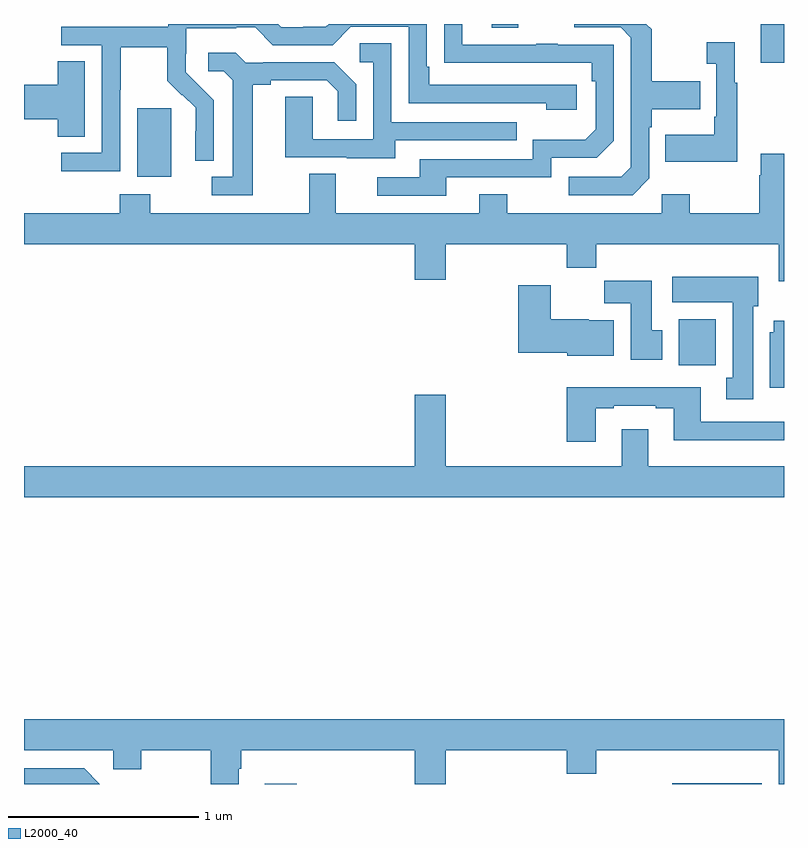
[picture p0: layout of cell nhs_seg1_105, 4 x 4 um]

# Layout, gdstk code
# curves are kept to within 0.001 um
import gdstk
lib = gdstk.Library(unit=1e-6, precision=1e-09)
def R(c, l, rs):  # rectangles x0, y0, x1, y1
    for r in rs: c.add(gdstk.rectangle(r[:2], r[2:], *l))
def P(c, l, *ps):  # polygons
    for p in ps: c.add(gdstk.Polygon(p, *l))
L2000_40 = (2000, 40)

nhs_seg1_105 = lib.new_cell('nhs_seg1_105')
R(nhs_seg1_105, L2000_40, [(116.267,574.199,116.435,574.201), (118.413,574.199,118.882,574.204), (118.445,576.404,118.642,576.646), (115.595,577.394,115.774,577.755), (118.877,577.995,119,578.199), (117.461,578.178,117.601,578.199)])
P(nhs_seg1_105, L2000_40, [(118.29,577.386),(118.29,577.655),(118.303,577.655),(118.303,577.751),(118.559,577.751),(118.559,577.899),(118.303,577.899),(118.303,578.171),(118.275,578.199),(117.897,578.199),(117.897,578.181),(118.14,578.181),(118.194,578.127),(118.194,577.446),(118.143,577.395),(117.867,577.395),(117.867,577.299),(118.203,577.299)],
  [(117.223,577.392),(117.774,577.392),(117.774,577.494),(118.014,577.494),(118.104,577.584),(118.104,578.091),(117.809,578.091),(117.809,578.096),(117.697,578.096),(117.697,578.091),(117.307,578.091),(117.307,578.199),(117.211,578.199),(117.211,577.996),(117.988,577.995),(117.988,577.898),(118.008,577.898),(118.008,577.644),(117.955,577.591),(117.678,577.591),(117.678,577.488),(117.083,577.488),(117.083,577.392),(116.859,577.392),(116.859,577.296),(117.223,577.296)],
  [(115.506,577.852),(115.509,577.852),(115.509,578.076),(115.753,578.076),(115.753,577.901),(115.83,577.824),(115.833,577.827),(115.904,577.757),(115.904,577.634),(115.902,577.634),(115.902,577.48),(115.998,577.48),(115.998,577.798),(115.852,577.946),(115.852,578.043),(115.854,578.043),(115.854,578.177),(116.117,578.177),(116.117,578.181),(116.217,578.181),(116.31,578.088),(116.625,578.088),(116.721,578.184),(117.024,578.184),(117.024,577.782),(117.749,577.782),(117.749,577.748),(117.91,577.748),(117.91,577.878),(117.133,577.878),(117.133,577.975),(117.12,577.975),(117.12,578.199),(116.604,578.199),(116.589,578.184),(116.471,578.184),(116.471,578.181),(116.355,578.181),(116.337,578.199),(115.758,578.199),(115.758,578.184),(115.197,578.184),(115.197,578.088),(115.41,578.088),(115.41,577.521),(115.197,577.521),(115.197,577.423),(115.506,577.423)],
  [(118.753,577.891),(118.741,577.891),(118.741,578.104),(118.593,578.104),(118.593,577.991),(118.644,577.991),(118.644,577.711),(118.632,577.711),(118.632,577.615),(118.375,577.615),(118.375,577.475),(118.753,577.475)],
  [(116.953,577.587),(117.593,577.587),(117.593,577.683),(116.934,577.683),(116.934,578.099),(116.766,578.099),(116.766,577.998),(116.838,577.998),(116.838,577.593),(116.52,577.593),(116.52,577.817),(116.375,577.817),(116.375,577.497),(116.699,577.497),(116.699,577.493),(116.953,577.493)],
  [(116.203,577.88),(116.299,577.88),(116.299,577.902),(116.594,577.902),(116.651,577.845),(116.651,577.689),(116.748,577.689),(116.748,577.882),(116.632,577.998),(116.26,577.998),(116.26,577.995),(116.166,577.995),(116.114,578.047),(115.971,578.047),(115.971,577.95),(116.052,577.95),(116.099,577.903),(116.099,577.395),(115.989,577.395),(115.989,577.299),(116.203,577.299)],
  [(115.321,578.003),(115.178,578.003),(115.178,577.88),(115,577.88),(115,577.697),(115.178,577.697),(115.178,577.606),(115.321,577.606)],
  [(119,577.516),(118.877,577.516),(118.877,577.403),(118.87,577.403),(118.87,577.204),(118.503,577.204),(118.503,577.303),(118.356,577.303),(118.356,577.204),(117.543,577.204),(117.543,577.303),(117.395,577.303),(117.395,577.204),(116.641,577.204),(116.641,577.412),(116.501,577.412),(116.501,577.204),(115.665,577.204),(115.665,577.303),(115.505,577.303),(115.505,577.204),(115,577.204),(115,577.04),(117.056,577.04),(117.056,576.852),(117.22,576.852),(117.22,577.04),(117.857,577.04),(117.857,576.916),(118.013,576.916),(118.013,577.04),(118.973,577.04),(118.973,576.846),(119,576.846)],
  [(118.837,576.714),(118.864,576.714),(118.864,576.868),(118.413,576.868),(118.413,576.734),(118.73,576.734),(118.73,576.338),(118.697,576.338),(118.697,576.225),(118.837,576.225)],
  [(118.36,576.588),(118.303,576.588),(118.303,576.847),(118.054,576.847),(118.054,576.728),(118.193,576.728),(118.193,576.432),(118.36,576.432)],
  [(118.105,576.64),(117.972,576.64),(117.972,576.646),(117.772,576.646),(117.772,576.823),(117.602,576.823),(117.602,576.47),(117.858,576.47),(117.858,576.452),(118.105,576.452)],
  [(119,576.637),(118.946,576.637),(118.946,576.576),(118.925,576.576),(118.925,576.284),(119,576.284)],
  [(118.009,576.177),(118.105,576.177),(118.105,576.189),(118.325,576.189),(118.325,576.177),(118.421,576.177),(118.421,576.008),(119,576.008),(119,576.105),(118.561,576.105),(118.561,576.286),(117.857,576.286),(117.857,576),(118.009,576)],
  [(119,575.872),(118.285,575.872),(118.285,576.067),(118.145,576.067),(118.145,575.872),(117.22,575.872),(117.22,576.247),(117.056,576.247),(117.056,575.872),(115,575.872),(115,575.708),(119,575.708)],
  [(116.131,574.28),(116.144,574.28),(116.144,574.376),(117.056,574.376),(117.056,574.199),(117.22,574.199),(117.22,574.376),(117.857,574.376),(117.857,574.252),(118.013,574.252),(118.013,574.376),(118.973,574.376),(118.973,574.199),(119,574.199),(119,574.54),(115,574.54),(115,574.376),(115.47,574.376),(115.47,574.277),(115.617,574.277),(115.617,574.376),(115.984,574.376),(115.984,574.199),(116.131,574.199)],
  [(115.317,574.281),(115,574.281),(115,574.199),(115.399,574.199)])

lib.write_gds('nhs_seg1_105.gds')
